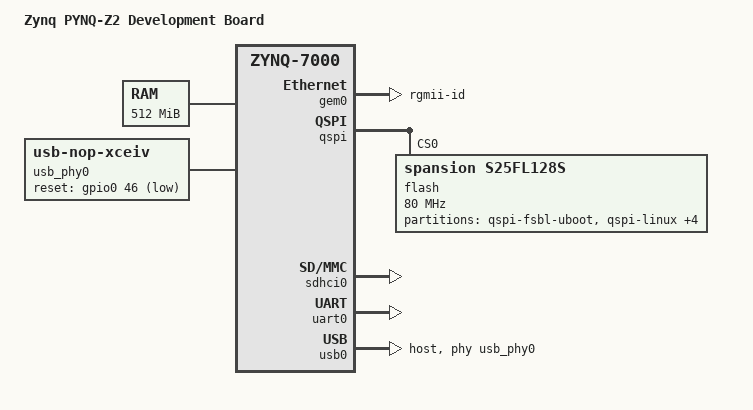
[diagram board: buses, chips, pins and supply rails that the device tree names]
/*
 * TUL Pynq-Z2 board DTS
 */
/dts-v1/;
#include "zynq-7000.dtsi"

/ {
	model = "Zynq PYNQ-Z2 Development Board";
	compatible = "digilent,zynq-artyz", "xlnx,zynq-7000";

	aliases {
		ethernet0 = &gem0;
		serial0 = &uart0;
		spi0 = &qspi;
		mmc0 = &sdhci0;
	};

	memory {
		device_type = "memory";
		reg = <0x0 0x20000000>;
	};

	chosen {
		bootargs = "earlycon";
		stdout-path = "serial0:115200n8";
	};
    
    cpus {
        cpu@0 {
            operating-points = <650000 1000000 325000 1000000>;
        };
    };
    
	usb_phy0: phy0 {
		compatible = "usb-nop-xceiv";
		#phy-cells = <0>;
		reset-gpios = <&gpio0 46 1>;
	};
};

&clkc {
	ps-clk-frequency = <50000000>;
};

&gem0 {
	status = "okay";
	phy-mode = "rgmii-id";
	enet-reset = <&gpio0 9 0>;
   xlnx,ptp-enet-clock = <0x6750918>;
};

&qspi {
	u-boot,dm-pre-reloc;
    is-dual = <0>;
    num-cs = <1>;
	xlnx,fb-clk = <0x1>;
    xlnx,qspi-mode = <0x0>;
	status = "okay";
	flash@0 {
    	compatible = "spansion,s25fl128s";
    	reg = <0x0>;
    	spi-tx-bus-width = <4>;
    	spi-rx-bus-width = <4>;
    	spi-max-frequency = <80000000>;
    	#address-cells = <1>;
    	#size-cells = <1>;
    	partition@qspi-fsbl-uboot {
    	          label = "qspi-fsbl-uboot";
    	          reg = <0x0 0x100000>;
    	};
    	partition@qspi-linux {
    	          label = "qspi-linux";
    	          reg = <0x100000 0x400000>;
    	};
    	partition@qspi-device-tree {
    	          label = "qspi-device-tree";
    	          reg = <0x500000 0x20000>;
    	};
		partition@qspi-boot-scr {
    	          label = "qspi-boot-scr";
    	          reg = <0x520000 0x20000>;
    	};
    	partition@qspi-rootfs {
    	          label = "qspi-rootfs";
    	          reg = <0x540000 0x6C0000>;
    	};
    	partition@qspi-bitstream {
    	          label = "qspi-bitstream";
    	          reg = <0xC00000 0x400000>;
    	};
    };
};

&sdhci0 {
	u-boot,dm-pre-reloc;
    xlnx,has-cd = <0x1>;
    xlnx,has-power = <0x0>;
    xlnx,has-wp = <0x0>;
	status = "okay";
};

&uart0 {
	u-boot,dm-pre-reloc;
    cts-override ;
    device_type = "serial";
    port-number = <0>;
	status = "okay";
};

&usb0 {
	status = "okay";
	dr_mode = "host";
	usb-phy = <&usb_phy0>;
};

&gpio0 {
 emio-gpio-width = <64>;
 gpio-mask-high = <0x0>;
 gpio-mask-low = <0x5600>;
};

&intc {
 num_cpus = <2>;
 num_interrupts = <96>;
};
